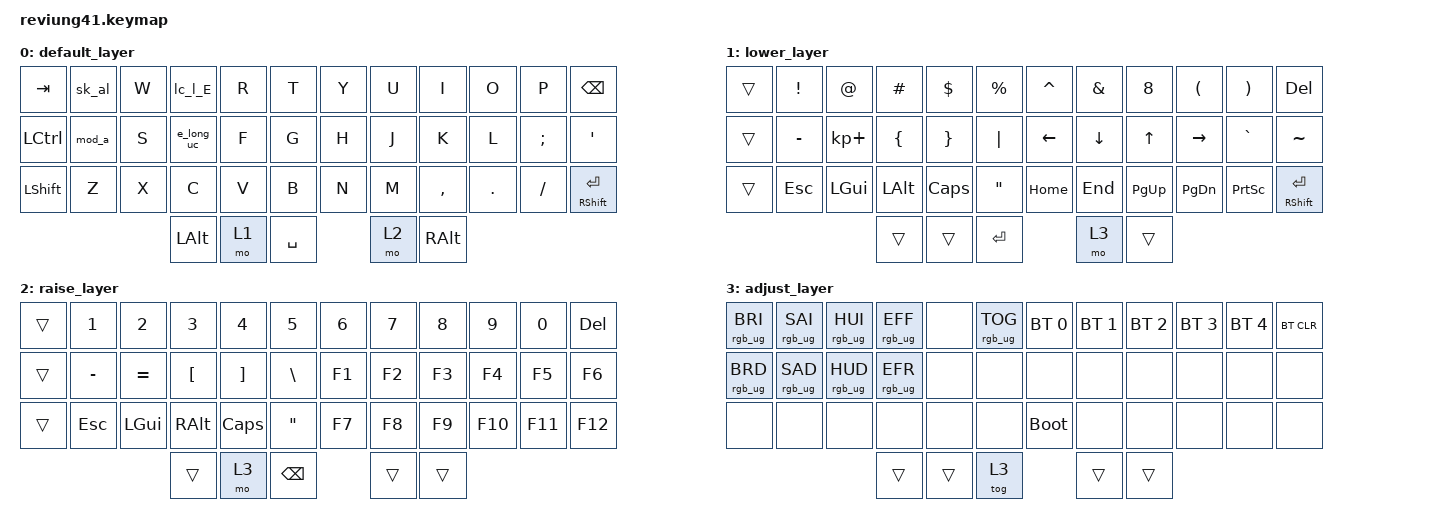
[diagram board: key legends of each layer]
#include <behaviors.dtsi>

#include <dt-bindings/zmk/keys.h>
#include <dt-bindings/zmk/rgb.h>
#include <dt-bindings/zmk/bt.h>

// ZMK nodefree config
#include "../zmk-nodefree-config/helper.h"
#include "../zmk-nodefree-config/international_chars/slovak.dtsi"   // Slovak special chars
#include "../macros/cz_sk_language_support.dtsi"

#define DIAC_TAP_DANCE_MS 100;


/ {
    macros {

        a_long_uc: a_long_uc {
            label = "a_long_uc";
            compatible = "zmk,behavior-macro";
            wait-ms = <40>;
            tap-ms = <40>;
            bindings =
                <&macro_release>,
                <&kp LSHIFT>,
                <&macro_tap>,
                <&kp EQUAL>,
                <&macro_press>,
                <&kp LSHIFT>,
                <&macro_tap>,
                <&kp A>,
                <&macro_release>,
                <&kp LSHIFT>;
            #binding-cells = <0>;
        };

        a_dot_uc: a_dot_uc {
            label = "a_dot_uc";
            compatible = "zmk,behavior-macro";
            wait-ms = <40>;
            tap-ms = <40>;
            bindings =
                <&macro_press>,
                <&kp RALT>,
                <&macro_tap>,
                <&kp KP_N0>,
                <&macro_tap>,
                <&kp KP_N1>,
                <&macro_tap>,
                <&kp KP_N9>,
                <&macro_tap>,
                <&kp KP_N6>,
                <&macro_release>,
                <&kp RALT>;
            #binding-cells = <0>;
        };
    };

    behaviors {
        tda_lc: tap_dance_a_lc {
            compatible = "zmk,behavior-tap-dance";
            label = "TAP_DANCE_A_LC";
            #binding-cells = <0>;
            tapping-term-ms = <200>;
            bindings =
                <&kp A>,
                <&kp N8>,
                <&kp RIGHT_BRACKET>;
        };

        tda_uc: tap_dance_a_uc {
            compatible = "zmk,behavior-tap-dance";
            label = "TAP_DANCE_A_UC";
            #binding-cells = <0>;
            tapping-term-ms = <200>;
            bindings =
                <&kp A>,
                <&a_long_uc>,
                <&a_dot_uc>;
        };

        mod_a: mod_morph_a {
            compatible = "zmk,behavior-mod-morph";
            label = "A MORPH";
            #binding-cells = <0>;
            bindings = <&tda_lc>, <&tda_uc>;
            mods = <(MOD_LSFT|MOD_RSFT)>;
        };
    };

    keymap {
        compatible = "zmk,keymap";

        default_layer {
            // -------------------------------------------------------------------------------------
            // |  TAB |  Q  |  W  |  E  |  R  |  T  |   |  Y  |  U   |  I  |  O  |  P  |   BKSP    |
            // | CTRL |  A  |  S  |  D  |  F  |  G  |   |  H  |  J   |  K  |  L  |  ;  |    '      |
            // | SHFT |  Z  |  X  |  C  |  V  |  B  |   |  N  |  M   |  ,  |  .  |  /  | SHFT(RET) |
            //                         | ALT | LWR | SPC | RSE  | ALT |

            bindings = <
   &kp TAB   &sk_al   &kp W     &lc_l_E   &kp R   &kp T              &kp Y   &kp U      &kp I    &kp O     &kp P       &kp BSPC
 &kp LCTRL   &mod_a   &kp S     &e_long_uc   &kp F   &kp G              &kp H   &kp J      &kp K    &kp L  &kp SEMI        &kp SQT
 &kp LSHFT   &kp Z   &kp X     &kp C   &kp V   &kp B              &kp N   &kp M  &kp COMMA  &kp DOT  &kp FSLH  &mt RSHFT RET
                            &kp LALT   &mo 1          &kp SPACE           &mo 2   &kp RALT
            >;
        };

        lower_layer {
            // ----------------------------------------------------------------------------------
            // |    |  !  |  @  |  #  |  $  |  %  |   |  ^  |  &  |  *  |  (  |  )  |    DEL    |
            // |    |  _  |  +  |  {  |  }  | "|" |   | LFT | DWN |  UP | RGT |  `  |     ~     |
            // |    | ESC | GUI | ALT | CAPS|  "  |   | HOME| END | PGUP| PGDN| PRSC| SHFT(RET) |
            //                       |     |     | RET | ADJ |     |

            bindings = <
 &trans   &kp EXCL       &kp AT  &kp HASH  &kp DLLR  &kp PRCNT           &kp CARET  &kp AMPS     &kp N8   &kp LPAR   &kp RPAR        &kp DEL
 &trans  &kp MINUS  &kp KP_PLUS  &kp LBRC  &kp RBRC   &kp PIPE            &kp LEFT  &kp DOWN     &kp UP  &kp RIGHT  &kp GRAVE      &kp TILDE
 &trans    &kp ESC     &kp LGUI  &kp LALT  &kp CLCK    &kp DQT            &kp HOME   &kp END  &kp PG_UP  &kp PG_DN  &kp PSCRN  &mt RSHFT RET
                                   &trans    &trans             &kp RET                &mo 3     &trans
            >;
        };

        raise_layer {
            // -----------------------------------------------------------------------------------------
            // |    |  1  |  2  |  3  |  4  |  5  |   |  6  |  7  |  8  |  9  |  0  | DEL |
            // |    |  -  |  =  |  [  |  ]  |  \  |   | F1  | F2  | F3  | F4  | F5  | F6  |
            // |    | ESC | GUI | ALT | CAPS|  "  |   | F7  | F8  | F9  | F10 | F11 | F12 |
            //                       |     | ADJ | BKSP |    |     |

            bindings = <
 &trans     &kp N1     &kp N2    &kp N3    &kp N4    &kp N5            &kp N6  &kp N7  &kp N8   &kp N9   &kp N0  &kp DEL
 &trans  &kp MINUS  &kp EQUAL  &kp LBKT  &kp RBKT  &kp BSLH            &kp F1  &kp F2  &kp F3   &kp F4   &kp F5   &kp F6
 &trans    &kp ESC   &kp LGUI  &kp RALT  &kp CLCK   &kp DQT            &kp F7  &kp F8  &kp F9  &kp F10  &kp F11  &kp F12
                                 &trans     &mo 3            &kp BSPC          &trans  &trans
            >;
        };

        adjust_layer {
            // -----------------------------------------------------------------------------------------
            // | RGB BRI+ | RGB SAT+ | RGB HUE+ | RGB ANI+ |    | RGB TOG |   |  BT1  | BT2 | BT3 | BT4 | BT5 | BT CLR |
            // | RGB BRI- | RGB SAT- | RGB HUE- | RGB ANI- |    |         |   |       |     |     |     |     |        |
            // |          |          |          |          |    |         |   | RESET |     |     |     |     |        |
            //                                              |     |     |     |     |     |

            bindings = <
 &rgb_ug RGB_BRI  &rgb_ug RGB_SAI  &rgb_ug RGB_HUI  &rgb_ug RGB_EFF   &none  &rgb_ug RGB_TOG          &bt BT_SEL 0  &bt BT_SEL 1  &bt BT_SEL 2  &bt BT_SEL 3  &bt BT_SEL 4  &bt BT_CLR
 &rgb_ug RGB_BRD  &rgb_ug RGB_SAD  &rgb_ug RGB_HUD  &rgb_ug RGB_EFR   &none            &none                 &none         &none         &none         &none         &none       &none
           &none            &none            &none            &none   &none            &none                &bootloader         &none         &none         &none         &none       &none
                                                             &trans  &trans                   &tog 3                      &trans        &trans
            >;
        };
    };
};
